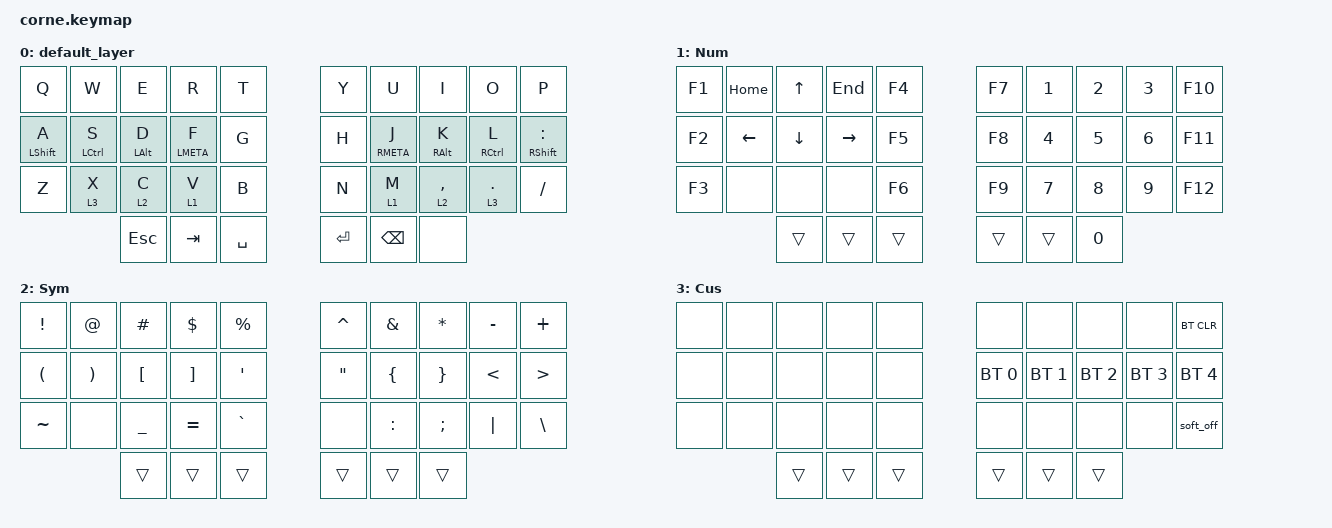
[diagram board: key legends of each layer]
/*
 * Copyright (c) 2020 The ZMK Contributors
 *
 * SPDX-License-Identifier: MIT
 */

#include <behaviors.dtsi>
#include <dt-bindings/zmk/keys.h>
#include <dt-bindings/zmk/bt.h>

/ {
    behaviors {
        hm: home_row_mods {
            compatible = "zmk,behavior-hold-tap";
            #binding-cells = <2>;
            bindings = <&kp>, <&kp>;
            flavor = "balanced";
            tapping-term-ms = <280>;
            quick-tap-ms = <175>;
            require-prior-idle-ms = <150>;
        };
    };

    chosen {
        zmk,physical-layout = &foostan_corne_5col_layout;
    };

    keymap {
        compatible = "zmk,keymap";

        default_layer {
            bindings = <
        // ╭─────────────┬─────────────┬─────────────┬─────────────┬─────────────╮   ╭─────────────┬─────────────┬─────────────┬─────────────┬─────────────╮
             &kp Q         &kp W         &kp E         &kp R         &kp T             &kp Y         &kp U         &kp I         &kp O         &kp P
             &hm LSHFT A   &hm LCTRL S   &hm LALT D    &hm LMETA F   &kp G             &kp H         &hm RMETA J   &hm RALT K    &hm RCTRL L   &hm RSHIFT COLON
             &kp Z         &lt 3 X       &lt 2 C       &lt 1 V       &kp B             &kp N         &lt 1 M       &lt 2 COMMA   &lt 3 DOT     &kp FSLH
        // ╰─────────────┴─────────────╮                                                                                       ╭─────────────┴─────────────╯
                                         &kp ESC       &kp TAB       &kp SPACE         &kp RETURN    &kp BSPC      &none
        //                             ╰─────────────┴─────────────┴─────────────╯   ╰─────────────┴─────────────┴─────────────╯

            >;
        };

        num_layer {
            label = "Num";
            bindings = <
        // ╭─────────────┬─────────────┬─────────────┬─────────────┬─────────────╮   ╭─────────────┬─────────────┬─────────────┬─────────────┬─────────────╮
             &kp F1        &kp HOME      &kp UP        &kp END       &kp F4            &kp F7        &kp N1        &kp N2        &kp N3        &kp F10
             &kp F2        &kp LEFT      &kp DOWN      &kp RIGHT     &kp F5            &kp F8        &kp N4        &kp N5        &kp N6        &kp F11
             &kp F3        &none         &none         &none         &kp F6            &kp F9        &kp N7        &kp N8        &kp N9        &kp F12
        // ╰─────────────┴─────────────╮                                                                                       ╭─────────────┴─────────────╯
                                         &trans        &trans        &trans            &trans        &trans        &kp N0
        //                             ╰─────────────┴─────────────┴─────────────╯   ╰─────────────┴─────────────┴─────────────╯
            >;
        };

        sym_layer {
            label = "Sym";
            bindings = <
        // ╭─────────────┬─────────────┬─────────────┬─────────────┬─────────────╮   ╭─────────────┬─────────────┬─────────────┬─────────────┬─────────────╮
             &kp EXCL      &kp AT        &kp POUND     &kp DLLR      &kp PRCNT         &kp CARET     &kp AMPS      &kp STAR      &kp MINUS     &kp PLUS
             &kp LPAR      &kp RPAR      &kp LBKT      &kp RBKT      &kp SQT           &kp DQT       &kp LBRC      &kp RBRC      &kp LT        &kp GT
             &kp TILDE     &none         &kp UNDER     &kp EQUAL     &kp GRAVE         &none         &kp COLON     &kp SEMI      &kp PIPE      &kp BSLH
        // ╰─────────────┴─────────────╮                                                                                       ╭─────────────┴─────────────╯
                                         &trans        &trans        &trans            &trans        &trans        &trans
        //                             ╰─────────────┴─────────────┴─────────────╯   ╰─────────────┴─────────────┴─────────────╯
            >;
        };

        cus_layer {
            label = "Cus";
            bindings = <
        // ╭─────────────┬─────────────┬─────────────┬─────────────┬─────────────╮   ╭─────────────┬─────────────┬─────────────┬─────────────┬─────────────╮
             &none         &none         &none         &none         &none             &none         &none         &none         &none         &bt BT_CLR
             &none         &none         &none         &none         &none             &bt BT_SEL 0  &bt BT_SEL 1  &bt BT_SEL 2  &bt BT_SEL 3  &bt BT_SEL 4
             &none         &none         &none         &none         &none             &none         &none         &none         &none         &soft_off
        // ╰─────────────┴─────────────╮                                                                                       ╭─────────────┴─────────────╯
                                         &trans        &trans        &trans            &trans        &trans        &trans
        //                             ╰─────────────┴─────────────┴─────────────╯   ╰─────────────┴─────────────┴─────────────╯
            >;
        };

    };
};
